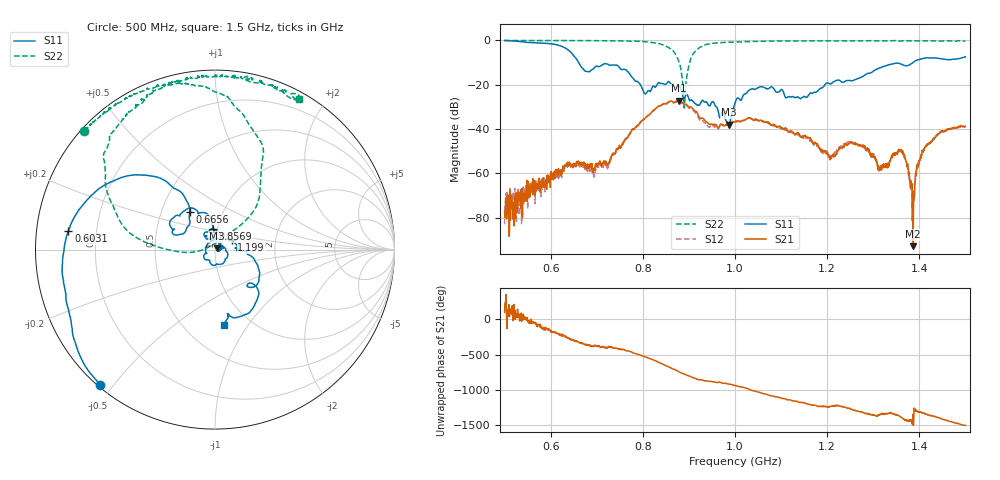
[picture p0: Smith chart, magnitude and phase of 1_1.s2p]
!Agilent Technologies,E8364B,US42250235,A.06.04.32
!Agilent E8364B: A.06.04.32
!Date: Friday, January 15, 2021 14:29:05
!Correction: S11(Full 2 Port(1,2)) S21(Full 2 Port(1,2)) S12(Full 2 Port(1,2)) S22(Full 2 Port(1,2))
!S2P File: Measurements: S11, S21, S12, S22:
# Hz S  dB  R 50
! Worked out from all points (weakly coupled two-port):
!   1601 points, 500 MHz to 1.5 GHz, reference 50 ohm
!   highest |S21| = -27.31 dB at 877.5 MHz (marker M1); lowest = -92.9 dB at 1.386 GHz (marker M2)
!   lowest |S11| = -38.2 dB at 986.9 MHz (marker M3), VSWR 1.03, Z = 50.9 + j0.83 ohm
!   |S11| at or under -10 dB: 660.4 MHz to 1.387 GHz (726.3 MHz wide, 71 % of centre)
!   |S22| runs from -30.6 to -0.1 dB; largest |S21 - S12| = 0.0035
!   S11 on the Smith chart (normalised r, x): 500 MHz: 0.01, -0.46; 603.1 MHz: 0.10, +0.06; 665.6 MHz: 0.70, +0.31; 856.9 MHz: 0.96, +0.22; 1.199 GHz: 1.20, +0.13; 1.5 GHz: 0.76, -0.77
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5e8  -0.11 -130.3  -77.19 95.9  -83.05 -131.9  -0.14 137.7
6.03125e8  -1.69 172.8  -59.95 -179.5  -60.08 -171.3  -0.21 127.8
6.65625e8  -11.91 123.5  -55.25 26.1  -57.03 25.1  -0.18 120.7
6.66875e8  -12.22 125.4  -55.09 26.3  -56.97 20.7  -0.18 120.6
7.25e8  -10.93 137.7  -55.89 -36.0  -56.57 -22.9  -0.26 113.1
8.05e8  -24.19 112.9  -35.17 -170.2  -35.41 -172.5  -0.70 97.0
8.3375e8  -19.22 123.1  -29.82 113.6  -30.01 111.2  -1.44 84.8
8.56875e8  -18.70 94.6  -27.69 46.7  -28.01 43.2  -3.49 69.2
8.775e8  -20.87 74.7  -27.31 -16.7  -27.59 -19.5  -9.20 47.2
8.90625e8  -25.98 64.3  -28.88 -55.8  -29.22 -60.0  -28.81 154.9
9.1375e8  -28.59 42.3  -32.06 -115.0  -32.69 -120.3  -5.04 162.7
9.86875e8  -38.15 41.2  -37.88 163.5  -37.61 166.5  -0.87 122.5
1e9  -28.38 35.4  -36.88 143.7  -36.53 143.9  -0.82 118.8
1.055e9  -21.00 -58.1  -36.11 44.6  -36.31 39.5  -0.46 111.2
1.166875e9  -23.91 70.3  -45.74 -134.0  -46.02 -134.3  -0.35 96.4
1.199375e9  -19.30 30.1  -51.05 -154.7  -51.27 -150.0  -0.30 94.4
1.25125e9  -18.23 -2.9  -46.08 173.5  -46.13 163.8  -0.27 87.6
1.33375e9  -11.09 -27.0  -55.90 110.4  -55.45 112.8  -0.26 78.6
1.361875e9  -10.91 -47.5  -49.79 51.0  -49.67 45.2  -0.34 75.4
1.38625e9  -10.08 -42.1  -92.91 97.2  -68.76 -59.2  -0.26 74.6
1.415e9  -7.96 -61.8  -47.65 98.6  -47.54 94.7  -0.27 70.8
1.5e9  -7.53 -83.3  -38.86 -59.7  -39.30 -61.8  -0.34 60.9
